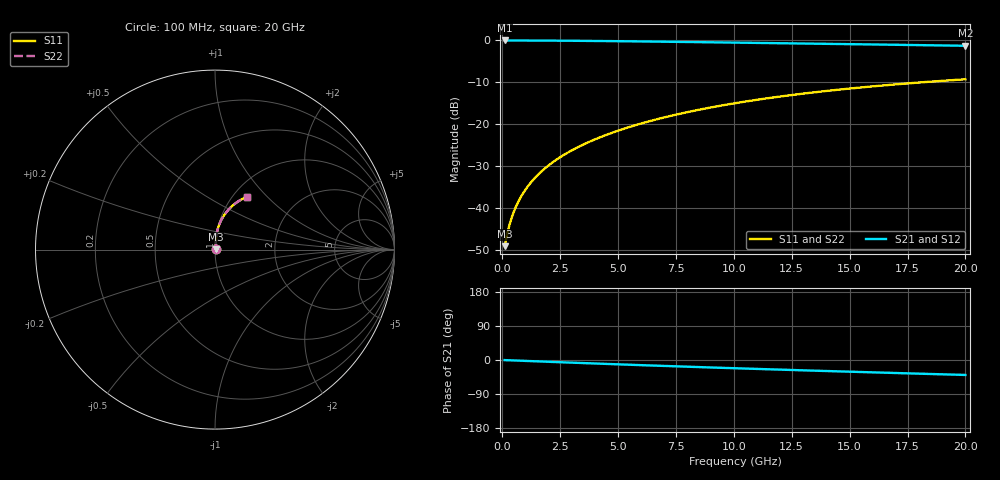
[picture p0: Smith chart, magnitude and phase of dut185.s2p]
! Touchstone file exported from HFSS 2024.1.0
!  File:  C:/UserFiles/LocalFiles/RDL_TSV_Batchsim/temp_RDL_bottom_185_1778698830.aedt
!  Generated:  03:03:27 AM May 14, 2026
!  Design:  RDL_bottom
!  Project:  temp_RDL_bottom_185_1778698830
!  Setup:  Setup1
!  Solution:  Sweep
! Variables:
!  dtsv = 10.80580581um
!  hbump = 3um
!  htsv = 80.84um
!  ldown = 562.19um
!  lrdl = 100um
!  p = 40
!  p1 = 48.73um
!  rhole = 1um
!  t = 450um
!  tdown = 3.03um
!  trdl = 3.915915916um
!  wdown = 23.52um
!  wrdl = 20um
# GHz S MA R 50.000000
! Terminal data exported
! Port[1] = RDL1_T1
! Port[2] = RDL1_T2
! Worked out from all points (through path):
!   200 points, 100 MHz to 20 GHz, reference 50 ohm
!   highest |S21| = -0.03 dB at 100 MHz (marker M1); lowest = -1.3 dB at 20 GHz (marker M2)
!   group delay of S21, straight-line fit = 5.43 ps
!   lowest |S11| = -49.0 dB at 100 MHz (marker M3), VSWR 1.01, Z = 50.3 + j0.182 ohm
!   |S11| at or under -10 dB: start of sweep to 18.11 GHz
!   |S22| runs from -49.0 to -9.3 dB; largest |S21 - S12| = 3e-15
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0.1  0.003536 30.7  0.997 -0.3  0.997 -0.3  0.003536 30.7
! Gamma 0 0 0 0
! Port Impedance 50 0 50 0
0.2  0.004763 48.2  0.9968 -0.5  0.9968 -0.5  0.004763 48.2
0.3  0.006189 57.4  0.9966 -0.7  0.9966 -0.7  0.006189 57.4
0.4  0.007654 63.0  0.9964 -1.0  0.9964 -1.0  0.007654 63.0
0.5  0.009129 66.8  0.9962 -1.2  0.9962 -1.2  0.009129 66.8
0.6  0.01061 69.7  0.996 -1.4  0.996 -1.4  0.01061 69.7
0.8  0.01361 73.7  0.9956 -1.9  0.9956 -1.9  0.01361 73.7
1.1  0.01819 77.5  0.9951 -2.6  0.9951 -2.6  0.01819 77.5
1.3  0.02129 79.2  0.9946 -3.1  0.9946 -3.1  0.02129 79.2
1.6  0.02601 81.0  0.9939 -3.8  0.9939 -3.8  0.02601 81.0
2.1  0.03404 82.8  0.9923 -5.0  0.9923 -5.0  0.03404 82.8
2.7  0.0439 83.9  0.99 -6.3  0.99 -6.3  0.0439 83.9
3.5  0.05744 84.6  0.9863 -8.2  0.9863 -8.2  0.05744 84.6
4.2  0.06964 84.6  0.9824 -9.7  0.9824 -9.7  0.06963 84.6
5  0.08394 84.2  0.9775 -11.5  0.9775 -11.5  0.08393 84.2
6.8  0.1172 82.3  0.965 -15.3  0.965 -15.3  0.1172 82.3
8.4  0.1473 79.9  0.953 -18.5  0.953 -18.5  0.1473 79.9
10.1  0.1793 77.0  0.9398 -21.9  0.9398 -21.9  0.1793 77.0
11.7  0.2089 74.1  0.9272 -24.9  0.9272 -24.9  0.2088 74.1
13.4  0.2392 70.9  0.9137 -28.0  0.9137 -28.0  0.2392 70.9
16.7  0.2944 64.7  0.8876 -33.9  0.8876 -33.9  0.2944 64.7
20  0.3439 58.8  0.8618 -39.4  0.8618 -39.4  0.3438 58.8
